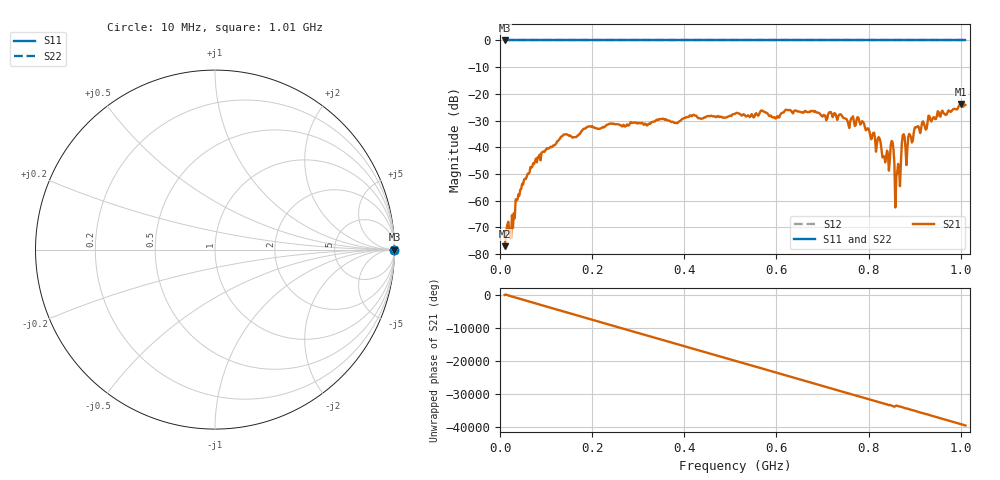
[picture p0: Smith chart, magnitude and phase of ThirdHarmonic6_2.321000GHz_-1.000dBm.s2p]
! 8/17/2025 3:17:41 AM
! C:\ANRITSUVNA\TEMP\TEMP.S2P
! CHANNEL.1
! TR.MEASUREMENT
! RAW.DATA
! RF.CORRECTION.OFF
! AVERAGING.OFF
! IF.BANDWIDTH: 5KHZ
! SWEEPTYPE:  FREQ.SWEEP(Linear)
! Reference Plane Port Info
! PORT:  PORT1  PORT2
! DISTANCE:  0  m  0  m
! TIME:  0  s  0  s
! PHASE.OFFSET:  0  deg.  0  deg.
! LOSS:  0  dB  0  dB
! REF.LOSS:  0  dB  0  dB
! REF.FREQ:  0  Hz  0  Hz
! Power Info
! POWER:  -20  dBm  -20  dBm
! EFF.POWER:  -20  dBm  -20  dBm
! SOURCE.ATTEN:  0  dB  0  dB
! TEST.ATTEN:  0  dB  0  dB
# GHZ S RI R 50.0
! FREQ.GHZ  S11RE  S11IM  S21RE  S21IM  S12RE  S12IM  S22RE  S22IM
!; PortSelection: Port_12
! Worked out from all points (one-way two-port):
!   501 points, 10 MHz to 1.01 GHz, reference 50 ohm
!   highest |S21| = -23.77 dB at 1 GHz (marker M1); lowest = -77.0 dB at 10 MHz (marker M2)
!   lowest |S11| = 0.0 dB at 10 MHz (marker M3)
!   |S11| at or under -10 dB: nowhere
!   |S22| runs from 0.0 to 0.0 dB; largest |S21 - S12| = 1.1
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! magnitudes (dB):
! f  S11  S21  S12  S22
! 10 MHz  0.0  -77.0  0.0  0.0
! 16 MHz  0.0  -69.0  0.0  0.0
! 24 MHz  0.0  -74.0  0.0  0.0
! 48 MHz  0.0  -53.7  0.0  0.0
! 74 MHz  0.0  -46.2  0.0  0.0
! 136 MHz  0.0  -35.7  0.0  0.0
! 178 MHz  0.0  -33.8  0.0  0.0
! 344 MHz  0.0  -29.7  0.0  0.0
! 510 MHz  0.0  -27.5  0.0  0.0
! 678 MHz  0.0  -26.5  0.0  0.0
! 778 MHz  0.0  -29.0  0.0  0.0
! 824 MHz  0.0  -36.8  0.0  0.0
! 834 MHz  0.0  -43.4  0.0  0.0
! 844 MHz  0.0  -48.8  0.0  0.0
! 852 MHz  0.0  -38.1  0.0  0.0
! 858 MHz  0.0  -62.5  0.0  0.0
! 862 MHz  0.0  -49.5  0.0  0.0
! 876 MHz  0.0  -35.1  0.0  0.0
! 882 MHz  0.0  -46.7  0.0  0.0
! 904 MHz  0.0  -32.5  0.0  0.0
! 1 GHz  0.0  -23.8  0.0  0.0
! 1.01 GHz  0.0  -24.2  0.0  0.0
